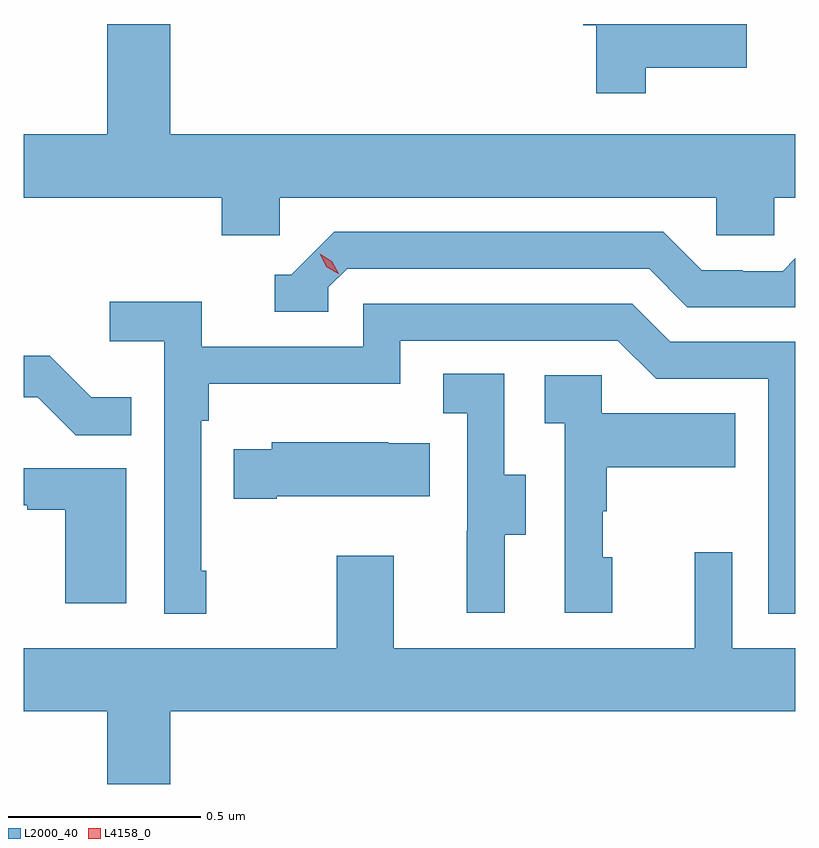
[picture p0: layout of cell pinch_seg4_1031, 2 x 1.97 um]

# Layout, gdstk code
import gdstk
lib = gdstk.Library(unit=1e-6, precision=1e-09)
def P(c, l, *ps):  # polygons
    for p in ps: c.add(gdstk.Polygon(p, *l))
L2000_40 = (2000, 40)
L4158_0 = (4158, 0)

pinch_seg4_1031 = lib.new_cell('pinch_seg4_1031')
P(pinch_seg4_1031, L2000_40, [(812.808,780.836),(813.939,780.836),(813.939,780.738),(814.089,780.738),(814.089,780.836),(814.144,780.836),(814.144,781),(812.524,781),(812.524,781.286),(812.36,781.286),(812.36,781),(812.144,781),(812.144,780.836),(812.657,780.836),(812.657,780.738),(812.808,780.738)],
  [(813.757,781.172),(814.018,781.172),(814.018,781.286),(813.594,781.286),(813.594,781.283),(813.628,781.283),(813.628,781.107),(813.757,781.107)],
  [(812.934,780.603),(812.982,780.651),(813.765,780.651),(813.864,780.552),(814.144,780.552),(814.144,780.679),(814.111,780.645),(814.008,780.645),(814.008,780.648),(813.901,780.648),(813.802,780.747),(812.949,780.747),(812.838,780.636),(812.795,780.636),(812.795,780.54),(812.934,780.54)],
  [(812.617,779.869),(812.604,779.869),(812.604,780.257),(812.624,780.257),(812.624,780.353),(813.12,780.353),(813.12,780.465),(813.684,780.465),(813.783,780.366),(814.074,780.366),(814.074,779.757),(814.144,779.757),(814.144,780.462),(813.82,780.462),(813.721,780.561),(813.024,780.561),(813.024,780.45),(812.606,780.45),(812.606,780.566),(812.367,780.566),(812.367,780.464),(812.508,780.464),(812.508,779.757),(812.617,779.757)],
  [(812.423,780.319),(812.319,780.319),(812.212,780.426),(812.144,780.426),(812.144,780.318),(812.181,780.318),(812.279,780.22),(812.423,780.22)],
  [(813.391,779.962),(813.445,779.962),(813.445,780.117),(813.39,780.117),(813.39,780.38),(813.231,780.38),(813.231,780.277),(813.294,780.277),(813.294,779.973),(813.293,779.973),(813.293,779.76),(813.391,779.76)],
  [(813.67,779.904),(813.645,779.904),(813.645,780.023),(813.655,780.023),(813.655,780.137),(813.989,780.137),(813.989,780.277),(813.642,780.277),(813.642,780.375),(813.495,780.375),(813.495,780.251),(813.546,780.251),(813.546,779.76),(813.67,779.76)],
  [(812.8,780.062),(813.197,780.062),(813.197,780.199),(813.089,780.199),(813.089,780.202),(812.787,780.202),(812.787,780.184),(812.689,780.184),(812.689,780.055),(812.8,780.055)],
  [(812.41,780.135),(812.144,780.135),(812.144,780.039),(812.153,780.039),(812.153,780.027),(812.252,780.027),(812.252,779.784),(812.41,779.784)],
  [(812.524,779.504),(814.144,779.504),(814.144,779.668),(813.981,779.668),(813.981,779.917),(813.884,779.917),(813.884,779.668),(813.103,779.668),(813.103,779.908),(812.956,779.908),(812.956,779.668),(812.144,779.668),(812.144,779.504),(812.36,779.504),(812.36,779.316),(812.524,779.316)])
P(pinch_seg4_1031, L4158_0, [(812.959,780.638),(812.928,780.657),(812.912,780.69),(812.912,780.69),(812.912,780.69),(812.943,780.671),(812.96,780.638),(812.96,780.638)])

lib.write_gds('pinch_seg4_1031.gds')
